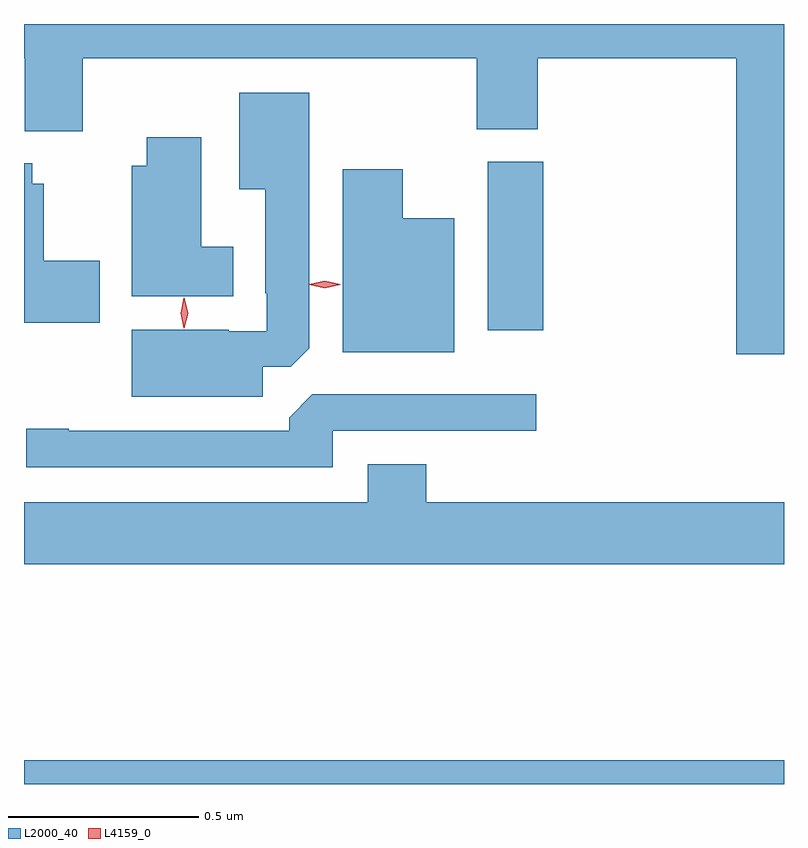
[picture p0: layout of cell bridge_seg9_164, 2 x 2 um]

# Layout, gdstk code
import gdstk
lib = gdstk.Library(unit=1e-6, precision=1e-09)
def R(c, l, rs):  # rectangles x0, y0, x1, y1
    for r in rs: c.add(gdstk.rectangle(r[:2], r[2:], *l))
def P(c, l, *ps):  # polygons
    for p in ps: c.add(gdstk.Polygon(p, *l))
L2000_40 = (2000, 40)
L4159_0 = (4159, 0)

bridge_seg9_164 = lib.new_cell('bridge_seg9_164')
R(bridge_seg9_164, L2000_40, [(277.35,1231.806,279.35,1231.868), (278.57,1233,278.717,1233.444)])
P(bridge_seg9_164, L2000_40, [(279.35,1233.806),(277.35,1233.806),(277.35,1233.716),(277.352,1233.716),(277.352,1233.524),(277.504,1233.524),(277.504,1233.716),(278.542,1233.716),(278.542,1233.529),(278.702,1233.529),(278.702,1233.716),(279.224,1233.716),(279.224,1232.937),(279.35,1232.937)],
  [(277.978,1232.904),(278.052,1232.904),(278.101,1232.953),(278.101,1233.625),(277.916,1233.625),(277.916,1233.371),(277.985,1233.371),(277.985,1233.097),(277.989,1233.097),(277.989,1232.997),(277.889,1232.997),(277.889,1233.001),(277.634,1233.001),(277.634,1232.825),(277.978,1232.825)],
  [(277.9,1233.22),(277.816,1233.22),(277.816,1233.508),(277.673,1233.508),(277.673,1233.433),(277.634,1233.433),(277.634,1233.089),(277.9,1233.089)],
  [(277.549,1233.183),(277.402,1233.183),(277.402,1233.385),(277.372,1233.385),(277.372,1233.439),(277.35,1233.439),(277.35,1233.02),(277.549,1233.02)],
  [(278.482,1233.295),(278.347,1233.295),(278.347,1233.424),(278.189,1233.424),(278.189,1232.942),(278.482,1232.942)],
  [(278.163,1232.736),(278.698,1232.736),(278.698,1232.832),(278.109,1232.832),(278.048,1232.77),(278.048,1232.736),(277.468,1232.736),(277.468,1232.741),(277.356,1232.741),(277.356,1232.64),(278.163,1232.64)],
  [(279.35,1232.548),(278.408,1232.548),(278.408,1232.647),(278.255,1232.647),(278.255,1232.548),(277.35,1232.548),(277.35,1232.384),(279.35,1232.384)])
P(bridge_seg9_164, L4159_0, [(278.141,1233.111),(278.1,1233.12),(278.1,1233.121),(278.1,1233.121),(278.141,1233.131),(278.182,1233.121),(278.182,1233.121),(278.182,1233.12)],
  [(277.771,1233.005),(277.762,1233.045),(277.771,1233.085),(277.772,1233.086),(277.772,1233.085),(277.782,1233.045),(277.772,1233.005),(277.772,1233.005)])

lib.write_gds('bridge_seg9_164.gds')
